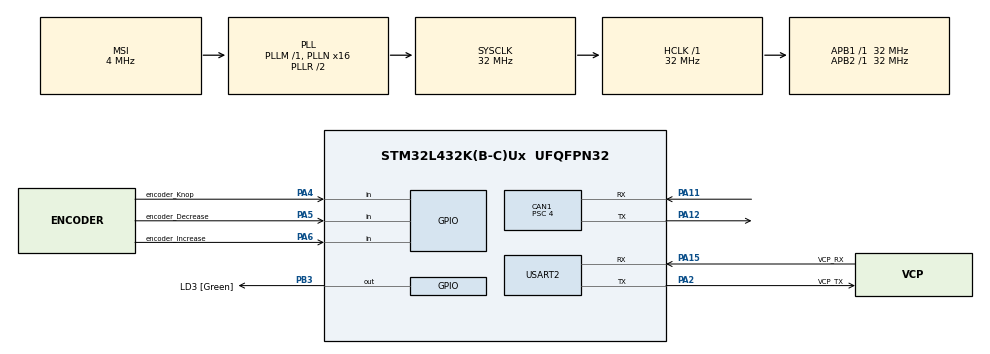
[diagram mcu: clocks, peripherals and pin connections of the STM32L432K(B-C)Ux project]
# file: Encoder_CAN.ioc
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CAN1.ABOM=DISABLE
CAN1.BS1=CAN_BS1_13TQ
CAN1.BS2=CAN_BS2_2TQ
CAN1.CalculateBaudRate=500000
CAN1.CalculateTimeBit=2000
CAN1.CalculateTimeQuantum=125.0
CAN1.NART=ENABLE
CAN1.Prescaler=4
Mcu.Family=STM32L4
Mcu.Name=STM32L432K(B-C)Ux
Mcu.Package=UFQFPN32
NVIC.PriorityGroup=NVIC_PRIORITYGROUP_4
PA0.GPIO_Label=MCO [High speed clock in]
PA0.Mode=HSE-External-Clock-Source-for-LittleOrca
PA0.Signal=RCC_CK_IN
PA11.Mode=CAN_Activate
PA11.Signal=CAN1_RX
PA12.Mode=CAN_Activate
PA12.Signal=CAN1_TX
PA13\ (JTMS-SWDIO).GPIO_Label=SWDIO
PA13\ (JTMS-SWDIO).Mode=Serial_Wire
PA13\ (JTMS-SWDIO).Signal=SYS_JTMS-SWDIO
PA14\ (JTCK-SWCLK).GPIO_Label=SWCLK
PA14\ (JTCK-SWCLK).Mode=Serial_Wire
PA14\ (JTCK-SWCLK).Signal=SYS_JTCK-SWCLK
PA15\ (JTDI).GPIO_Label=VCP_RX
PA15\ (JTDI).Mode=Asynchronous
PA15\ (JTDI).Signal=USART2_RX
PA2.GPIO_Label=VCP_TX
PA2.Mode=Asynchronous
PA2.Signal=USART2_TX
PA4.GPIO_Label=encoder_Knop
PA4.GPIO_PuPd=GPIO_PULLUP
PA4.Signal=GPIO_Input
PA5.GPIO_Label=encoder_Decrease
PA5.GPIO_PuPd=GPIO_PULLUP
PA5.Signal=GPIO_Input
PA6.GPIO_Label=encoder_Increase
PA6.GPIO_PuPd=GPIO_PULLUP
PA6.Signal=GPIO_Input
PB3\ (JTDO-TRACESWO).GPIO_Label=LD3 [Green]
PB3\ (JTDO-TRACESWO).Signal=GPIO_Output
PC14-OSC32_IN\ (PC14).Mode=LSE-External-Oscillator
PC14-OSC32_IN\ (PC14).Signal=RCC_OSC32_IN
PC15-OSC32_OUT\ (PC15).Mode=LSE-External-Oscillator
PC15-OSC32_OUT\ (PC15).Signal=RCC_OSC32_OUT
ProjectManager.HeapSize=0x200
ProjectManager.StackSize=0x400
ProjectManager.TargetToolchain=STM32CubeIDE
RCC.AHBFreq_Value=32000000
RCC.APB1Freq_Value=32000000
RCC.APB1TimFreq_Value=32000000
RCC.APB2Freq_Value=32000000
RCC.APB2TimFreq_Value=32000000
RCC.CortexFreq_Value=32000000
RCC.HCLKFreq_Value=32000000
RCC.HSE_VALUE=8000000
RCC.HSI16_VALUE=16000000
RCC.HSI48_VALUE=48000000
RCC.HSI_VALUE=16000000
RCC.MSI_VALUE=4000000
RCC.PLLMUL=RCC_PLLMUL_4
RCC.PLLN=16
RCC.SYSCLKFreq_VALUE=32000000
RCC.SYSCLKSource=RCC_SYSCLKSOURCE_PLLCLK
RCC.VCOOutputFreq_Value=64000000
USART2.VirtualMode-Asynchronous=VM_ASYNC
board=NUCLEO-L432KC

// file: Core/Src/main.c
/* USER CODE BEGIN Header */
/**
  ******************************************************************************
  * @file           : main.c
  * @brief          : Main program body
  ******************************************************************************
  * @attention
  *
  * Copyright (c) 2026 STMicroelectronics.
  * All rights reserved.
  *
  * This software is licensed under terms that can be found in the LICENSE file
  * in the root directory of this software component.
  * If no LICENSE file comes with this software, it is provided AS-IS.
  *
  ******************************************************************************
  */
/* USER CODE END Header */
#include "main.h"

/* USER CODE BEGIN Includes */
#include <stdio.h>
#include <string.h>
/* USER CODE END Includes */

/* USER CODE BEGIN PD */
#define STEPS_PER_REV 20
/* USER CODE END PD */

CAN_HandleTypeDef hcan1;

UART_HandleTypeDef huart2;

/* USER CODE BEGIN PV */
CAN_RxHeaderTypeDef rxHeader;
uint8_t rxData[8];
volatile int datacheck = 0;
int lastReportedSteps = 0;
int revolutions = 0;

typedef struct {
	uint16_t pin;
	GPIO_PinState state;
	char label[5];
} Button;

typedef struct {
	Button* buttonIncrease;
	Button* buttonDecrease;
	int state;
} Encoder;
/* USER CODE END PV */

void SystemClock_Config(void);
static void MX_GPIO_Init(void);
static void MX_CAN1_Init(void);
static void MX_USART2_UART_Init(void);
/* USER CODE BEGIN PFP */
int8_t readEncoder(void);
void sendCan(int value);
/* USER CODE END PFP */

/* USER CODE BEGIN 0 */
void sendCan(int value) {
    // Wacht tot er een vrije mailbox is
    uint32_t timeout = HAL_GetTick() + 10;  // max 10ms wachten
    while (!HAL_CAN_GetTxMailboxesFreeLevel(&hcan1) && HAL_GetTick() < timeout);

    CAN_TxHeaderTypeDef header;
    uint32_t mailbox;
    uint8_t data[2];

    header.StdId = 0x1FE;
    header.IDE = CAN_ID_STD;
    header.RTR = CAN_RTR_DATA;
    header.DLC = 2;

    data[0] = (value >> 8) & 0xFF;
    data[1] = value & 0xFF;

    if (HAL_CAN_AddTxMessage(&hcan1, &header, data, &mailbox) != HAL_OK) {
        char err[] = "Mailbox vol!\r\n";
        HAL_UART_Transmit(&huart2, (uint8_t*)err, strlen(err), HAL_MAX_DELAY);
    }
}
/* USER CODE END 0 */

int main(void)
{

  /* MCU Configuration--------------------------------------------------------*/

  /* Reset of all peripherals, Initializes the Flash interface and the Systick. */
  HAL_Init();

  /* Configure the system clock */
  SystemClock_Config();

  /* Initialize all configured peripherals */
  MX_GPIO_Init();
  MX_CAN1_Init();
  MX_USART2_UART_Init();
  /* USER CODE BEGIN 2 */

  CAN_FilterTypeDef filter;
  filter.FilterBank = 0;
  filter.FilterMode = CAN_FILTERMODE_IDMASK;
  filter.FilterScale = CAN_FILTERSCALE_32BIT;
  filter.FilterIdHigh = 0x0000;  // Accepteer alle IDs (of specifieke IDs als je dat wilt)
  filter.FilterIdLow = 0x0000;
  filter.FilterMaskIdHigh = 0x0000;
  filter.FilterMaskIdLow = 0x0000;
  filter.FilterFIFOAssignment = CAN_FILTER_FIFO0;
  filter.FilterActivation = ENABLE;

  HAL_CAN_ConfigFilter(&hcan1, &filter);
  HAL_CAN_Start(&hcan1);
  if (HAL_CAN_ActivateNotification(&hcan1, CAN_IT_RX_FIFO0_MSG_PENDING) != HAL_OK)
  {
	  Error_Handler();
  }

  Button buttons[3] = {};
  buttons[0].pin = encoder_Knop_Pin;
  buttons[0].state = HAL_GPIO_ReadPin(GPIOA, encoder_Knop_Pin);
  sprintf(buttons[0].label, "enbu");

  buttons[1].pin = encoder_Decrease_Pin;
  buttons[1].state = HAL_GPIO_ReadPin(GPIOA, encoder_Decrease_Pin);
  sprintf(buttons[1].label, "ende");

  buttons[2].pin = encoder_Increase_Pin;
  buttons[2].state = HAL_GPIO_ReadPin(GPIOA, encoder_Increase_Pin);
  sprintf(buttons[2].label, "enin");

  Encoder encoder = {&buttons[2], &buttons[1], 0};

  char initString[] = "System Started\n\r";
  HAL_UART_Transmit(&huart2, (uint8_t*)initString, strlen(initString), HAL_MAX_DELAY);
  /* USER CODE END 2 */

  /* Infinite loop */
  /* USER CODE BEGIN WHILE */
  while (1)
  {
	  // Encoder uitlezen
	      static uint8_t lastState = 0;
	      uint8_t a = HAL_GPIO_ReadPin(GPIOA, encoder_Increase_Pin);
	      uint8_t b = HAL_GPIO_ReadPin(GPIOA, encoder_Decrease_Pin);
	      uint8_t currentState = (a << 1) | b;

	      int8_t delta = 0;
	      if ((lastState == 0b00 && currentState == 0b01) ||
	          (lastState == 0b01 && currentState == 0b11) ||
	          (lastState == 0b11 && currentState == 0b10) ||
	          (lastState == 0b10 && currentState == 0b00))
	      {
	          delta = +1;
	      }
	      else if ((lastState == 0b00 && currentState == 0b10) ||
	               (lastState == 0b10 && currentState == 0b11) ||
	               (lastState == 0b11 && currentState == 0b01) ||
	               (lastState == 0b01 && currentState == 0b00))
	      {
	          delta = -1;
	      }
	      lastState = currentState;

	      // Als encoder is gedraaid
	      if (delta != 0)
	      {
	          lastReportedSteps += delta;

	          // UART debug: elke stap
	          char buf[50];
	          sprintf(buf, "Delta: %+d | Totaal: %d | Rev: %d\r\n", delta, lastReportedSteps, revolutions);
	          HAL_UART_Transmit(&huart2, (uint8_t*)buf, strlen(buf), HAL_MAX_DELAY);

	          // CAN verzenden elke 10 stappen vooruit
	          if (lastReportedSteps >= STEPS_PER_REV)
	          {
	              revolutions++;
	              lastReportedSteps -= STEPS_PER_REV;
	              sendCan(revolutions);

	              char canBuf[40];
	              sprintf(canBuf, "CAN verstuurd: rev = %d\r\n", revolutions);
	              HAL_UART_Transmit(&huart2, (uint8_t*)canBuf, strlen(canBuf), HAL_MAX_DELAY);
	          }
	          // CAN verzenden elke 10 stappen achteruit
	          else if (lastReportedSteps <= -STEPS_PER_REV)
	          {
	              revolutions--;
	              lastReportedSteps += STEPS_PER_REV;
	              sendCan(revolutions);

	              char canBuf[40];
	              sprintf(canBuf, "CAN verstuurd: rev = %d\r\n", revolutions);
	              HAL_UART_Transmit(&huart2, (uint8_t*)canBuf, strlen(canBuf), HAL_MAX_DELAY);
	          }
	      }
	      // Knop uitlezen
	      static GPIO_PinState lastKnopState = GPIO_PIN_SET;
	      GPIO_PinState knopState = HAL_GPIO_ReadPin(GPIOA, encoder_Knop_Pin);

	      if (knopState == GPIO_PIN_RESET && lastKnopState == GPIO_PIN_SET)
	      {
	          HAL_Delay(50); // debounce

	          // Abort oude berichten
	          HAL_CAN_AbortTxRequest(&hcan1, CAN_TX_MAILBOX0);
	          HAL_CAN_AbortTxRequest(&hcan1, CAN_TX_MAILBOX1);
	          HAL_CAN_AbortTxRequest(&hcan1, CAN_TX_MAILBOX2);

	          CAN_TxHeaderTypeDef header;
	          uint32_t mailbox;
	          uint8_t data[1];

	          header.StdId = 0x1FF;
	          header.IDE = CAN_ID_STD;
	          header.RTR = CAN_RTR_DATA;
	          header.DLC = 1;
	          data[0] = 0x01;

	          HAL_StatusTypeDef status = HAL_CAN_AddTxMessage(&hcan1, &header, data, &mailbox);

	          char buf[50];
	          sprintf(buf, "Knop CAN: %s\r\n", status == HAL_OK ? "OK" : "FOUT");
	          HAL_UART_Transmit(&huart2, (uint8_t*)buf, strlen(buf), HAL_MAX_DELAY);
	      }
	      lastKnopState = knopState;

	      HAL_Delay(5);

    /* USER CODE END WHILE */

  }
}

void SystemClock_Config(void)
{
  RCC_OscInitTypeDef RCC_OscInitStruct = {0};
  RCC_ClkInitTypeDef RCC_ClkInitStruct = {0};

  /** Configure the main internal regulator output voltage
  */
  if (HAL_PWREx_ControlVoltageScaling(PWR_REGULATOR_VOLTAGE_SCALE1) != HAL_OK)
  {
    Error_Handler();
  }

  /** Configure LSE Drive Capability
  */
  HAL_PWR_EnableBkUpAccess();
  __HAL_RCC_LSEDRIVE_CONFIG(RCC_LSEDRIVE_LOW);

  /** Initializes the RCC Oscillators according to the specified parameters
  * in the RCC_OscInitTypeDef structure.
  */
  RCC_OscInitStruct.OscillatorType = RCC_OSCILLATORTYPE_LSE|RCC_OSCILLATORTYPE_MSI;
  RCC_OscInitStruct.LSEState = RCC_LSE_ON;
  RCC_OscInitStruct.MSIState = RCC_MSI_ON;
  RCC_OscInitStruct.MSICalibrationValue = 0;
  RCC_OscInitStruct.MSIClockRange = RCC_MSIRANGE_6;
  RCC_OscInitStruct.PLL.PLLState = RCC_PLL_ON;
  RCC_OscInitStruct.PLL.PLLSource = RCC_PLLSOURCE_MSI;
  RCC_OscInitStruct.PLL.PLLM = 1;
  RCC_OscInitStruct.PLL.PLLN = 16;
  RCC_OscInitStruct.PLL.PLLP = RCC_PLLP_DIV7;
  RCC_OscInitStruct.PLL.PLLQ = RCC_PLLQ_DIV2;
  RCC_OscInitStruct.PLL.PLLR = RCC_PLLR_DIV2;
  if (HAL_RCC_OscConfig(&RCC_OscInitStruct) != HAL_OK)
  {
    Error_Handler();
  }

  /** Initializes the CPU, AHB and APB buses clocks
  */
  RCC_ClkInitStruct.ClockType = RCC_CLOCKTYPE_HCLK|RCC_CLOCKTYPE_SYSCLK
                              |RCC_CLOCKTYPE_PCLK1|RCC_CLOCKTYPE_PCLK2;
  RCC_ClkInitStruct.SYSCLKSource = RCC_SYSCLKSOURCE_PLLCLK;
  RCC_ClkInitStruct.AHBCLKDivider = RCC_SYSCLK_DIV1;
  RCC_ClkInitStruct.APB1CLKDivider = RCC_HCLK_DIV1;
  RCC_ClkInitStruct.APB2CLKDivider = RCC_HCLK_DIV1;

  if (HAL_RCC_ClockConfig(&RCC_ClkInitStruct, FLASH_LATENCY_1) != HAL_OK)
  {
    Error_Handler();
  }

  /** Enable MSI Auto calibration
  */
  HAL_RCCEx_EnableMSIPLLMode();
}

static void MX_CAN1_Init(void)
{

  hcan1.Instance = CAN1;
  hcan1.Init.Prescaler = 4;
  hcan1.Init.Mode = CAN_MODE_NORMAL;
  hcan1.Init.SyncJumpWidth = CAN_SJW_1TQ;
  hcan1.Init.TimeSeg1 = CAN_BS1_13TQ;
  hcan1.Init.TimeSeg2 = CAN_BS2_2TQ;
  hcan1.Init.TimeTriggeredMode = DISABLE;
  hcan1.Init.AutoBusOff = DISABLE;
  hcan1.Init.AutoWakeUp = DISABLE;
  hcan1.Init.AutoRetransmission = ENABLE;
  hcan1.Init.ReceiveFifoLocked = DISABLE;
  hcan1.Init.TransmitFifoPriority = DISABLE;
  if (HAL_CAN_Init(&hcan1) != HAL_OK)
  {
    Error_Handler();
  }

}

static void MX_USART2_UART_Init(void)
{

  huart2.Instance = USART2;
  huart2.Init.BaudRate = 115200;
  huart2.Init.WordLength = UART_WORDLENGTH_8B;
  huart2.Init.StopBits = UART_STOPBITS_1;
  huart2.Init.Parity = UART_PARITY_NONE;
  huart2.Init.Mode = UART_MODE_TX_RX;
  huart2.Init.HwFlowCtl = UART_HWCONTROL_NONE;
  huart2.Init.OverSampling = UART_OVERSAMPLING_16;
  huart2.Init.OneBitSampling = UART_ONE_BIT_SAMPLE_DISABLE;
  huart2.AdvancedInit.AdvFeatureInit = UART_ADVFEATURE_NO_INIT;
  if (HAL_UART_Init(&huart2) != HAL_OK)
  {
    Error_Handler();
  }

}

static void MX_GPIO_Init(void)
{
  GPIO_InitTypeDef GPIO_InitStruct = {0};

  /* GPIO Ports Clock Enable */
  __HAL_RCC_GPIOC_CLK_ENABLE();
  __HAL_RCC_GPIOA_CLK_ENABLE();
  __HAL_RCC_GPIOB_CLK_ENABLE();

  /*Configure GPIO pin Output Level */
  HAL_GPIO_WritePin(LD3_GPIO_Port, LD3_Pin, GPIO_PIN_RESET);

  /*Configure GPIO pins : encoder_Knop_Pin encoder_Decrease_Pin encoder_Increase_Pin */
  GPIO_InitStruct.Pin = encoder_Knop_Pin|encoder_Decrease_Pin|encoder_Increase_Pin;
  GPIO_InitStruct.Mode = GPIO_MODE_INPUT;
  GPIO_InitStruct.Pull = GPIO_PULLUP;
  HAL_GPIO_Init(GPIOA, &GPIO_InitStruct);

  /*Configure GPIO pin : LD3_Pin */
  GPIO_InitStruct.Pin = LD3_Pin;
  GPIO_InitStruct.Mode = GPIO_MODE_OUTPUT_PP;
  GPIO_InitStruct.Pull = GPIO_NOPULL;
  GPIO_InitStruct.Speed = GPIO_SPEED_FREQ_LOW;
  HAL_GPIO_Init(LD3_GPIO_Port, &GPIO_InitStruct);

}

/* USER CODE BEGIN 4 */

/* CAN Receive Callback */
void HAL_CAN_RxFifo0MsgPendingCallback(CAN_HandleTypeDef *hcan) {
    if (HAL_CAN_GetRxMessage(hcan, CAN_RX_FIFO0, &rxHeader, rxData) == HAL_OK) {
        if (rxHeader.StdId == 0x1FE) {  // Controleer op ID 0x310
            datacheck = 1;
        }
    }
}
/* USER CODE END 4 */

void Error_Handler(void)
{
  __disable_irq();
  while (1)
  {
  }
}
